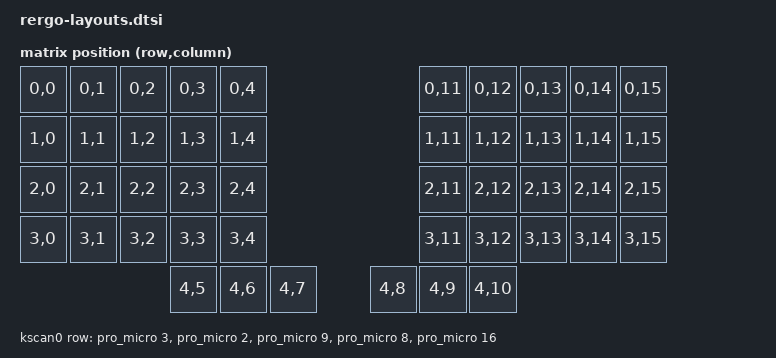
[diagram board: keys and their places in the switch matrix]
#include <dt-bindings/zmk/matrix_transform.h>
#include <physical_layouts.dtsi>

/ {
    physical_layout_rergo: physical_layout_rergo {
        compatible = "zmk,physical-layout";
        display-name = "Default";
        transform = <&default_transform>;
        keys  //                     w   h    x    y     rot    rx    ry
            = <&key_physical_attrs 100 100    0    0       0     0     0>
            , <&key_physical_attrs 100 100  100    0       0   100     0>
            , <&key_physical_attrs 100 100  200    0       0   200     0>
            , <&key_physical_attrs 100 100  300    0       0   300     0>
            , <&key_physical_attrs 100 100  400    0       0   400     0>
            , <&key_physical_attrs 100 100  800    0       0   800     0>
            , <&key_physical_attrs 100 100  900    0       0   900     0>
            , <&key_physical_attrs 100 100 1000    0       0  1000     0>
            , <&key_physical_attrs 100 100 1100    0       0  1100     0>
            , <&key_physical_attrs 100 100 1200    0       0  1200     0>
            , <&key_physical_attrs 100 100    0  100       0     0   100>
            , <&key_physical_attrs 100 100  100  100       0   100   100>
            , <&key_physical_attrs 100 100  200  100       0   200   100>
            , <&key_physical_attrs 100 100  300  100       0   300   100>
            , <&key_physical_attrs 100 100  400  100       0   400   100>
            , <&key_physical_attrs 100 100  800  100       0   800   100>
            , <&key_physical_attrs 100 100  900  100       0   900   100>
            , <&key_physical_attrs 100 100 1000  100       0  1000   100>
            , <&key_physical_attrs 100 100 1100  100       0  1100   100>
            , <&key_physical_attrs 100 100 1200  100       0  1200   100>
            , <&key_physical_attrs 100 100    0  200       0     0   200>
            , <&key_physical_attrs 100 100  100  200       0   100   200>
            , <&key_physical_attrs 100 100  200  200       0   200   200>
            , <&key_physical_attrs 100 100  300  200       0   300   200>
            , <&key_physical_attrs 100 100  400  200       0   400   200>
            , <&key_physical_attrs 100 100  800  200       0   800   200>
            , <&key_physical_attrs 100 100  900  200       0   900   200>
            , <&key_physical_attrs 100 100 1000  200       0  1000   200>
            , <&key_physical_attrs 100 100 1100  200       0  1100   200>
            , <&key_physical_attrs 100 100 1200  200       0  1200   200>
            , <&key_physical_attrs 100 100    0  300       0     0   300>
            , <&key_physical_attrs 100 100  100  300       0   100   300>
            , <&key_physical_attrs 100 100  200  300       0   200   300>
            , <&key_physical_attrs 100 100  300  300       0   300   300>
            , <&key_physical_attrs 100 100  400  300       0   400   300>
            , <&key_physical_attrs 100 100  800  300       0   800   300>
            , <&key_physical_attrs 100 100  900  300       0   900   300>
            , <&key_physical_attrs 100 100 1000  300       0  1000   300>
            , <&key_physical_attrs 100 100 1100  300       0  1100   300>
            , <&key_physical_attrs 100 100 1200  300       0  1200   300>
            , <&key_physical_attrs 100 100  300  400       0   300   400>
            , <&key_physical_attrs 100 100  400  400       0   400   400>
            , <&key_physical_attrs 100 100  500  400       0   500   400>
            , <&key_physical_attrs 100 100  700  400       0   700   400>
            , <&key_physical_attrs 100 100  800  400       0   800   400>
            , <&key_physical_attrs 100 100  900  400       0   900   400>
            ;
    };

    default_transform: keymap_transform_rergo {
        compatible = "zmk,matrix-transform";
        //columns = <10>;
        columns = <16>;
        rows = <5>;


        //RC(0,0)  RC(0,1)  RC(0,2)  RC(0,3)  RC(0,4)    RC(0,5) RC(0,6) RC(0,7) RC(0,8) RC(0,9)
        //RC(1,0)  RC(1,1)  RC(1,2)  RC(1,3)  RC(1,4)    RC(1,5) RC(1,6) RC(1,7) RC(1,8) RC(1,9)
        //RC(2,0)  RC(2,1)  RC(2,2)  RC(2,3)  RC(2,4)    RC(2,5) RC(2,6) RC(2,7) RC(2,8) RC(2,9)
        //RC(3,0)  RC(3,1)  RC(3,2)  RC(3,3)  RC(3,4)    RC(3,5) RC(3,6) RC(3,7) RC(3,8) RC(3,9)
        //                  RC(4,2)  RC(4,3)  RC(4,4)    RC(4,5) RC(4,6) RC(4,7)


        map = <
        RC(0,0)  RC(0,1)  RC(0,2)  RC(0,3)  RC(0,4)                                                       RC(0,11) RC(0,12) RC(0,13) RC(0,14) RC(0,15)
        RC(1,0)  RC(1,1)  RC(1,2)  RC(1,3)  RC(1,4)                                                       RC(1,11) RC(1,12) RC(1,13) RC(1,14) RC(1,15)
        RC(2,0)  RC(2,1)  RC(2,2)  RC(2,3)  RC(2,4)                                                       RC(2,11) RC(2,12) RC(2,13) RC(2,14) RC(2,15)
        RC(3,0)  RC(3,1)  RC(3,2)  RC(3,3)  RC(3,4)                                                       RC(3,11) RC(3,12) RC(3,13) RC(3,14) RC(3,15)
                                                    RC(4,5)  RC(4,6)  RC(4,7)    RC(4,8) RC(4,9) RC(4,10)
        >;
    };

    kscan0: kscan {
        compatible = "zmk,kscan-gpio-matrix";
        label = "KSCAN";
        wakeup-source;
        diode-direction = "col2row";
        row-gpios
            = <&pro_micro 3 (GPIO_ACTIVE_HIGH | GPIO_PULL_DOWN)>    //Row0
            , <&pro_micro 2 (GPIO_ACTIVE_HIGH | GPIO_PULL_DOWN)>    //Row1
            , <&pro_micro 9 (GPIO_ACTIVE_HIGH | GPIO_PULL_DOWN)>    //Row2
            , <&pro_micro 8 (GPIO_ACTIVE_HIGH | GPIO_PULL_DOWN)>    //Row3
            , <&pro_micro 16 (GPIO_ACTIVE_HIGH | GPIO_PULL_DOWN)>   //Row4
            ;
    };
};
